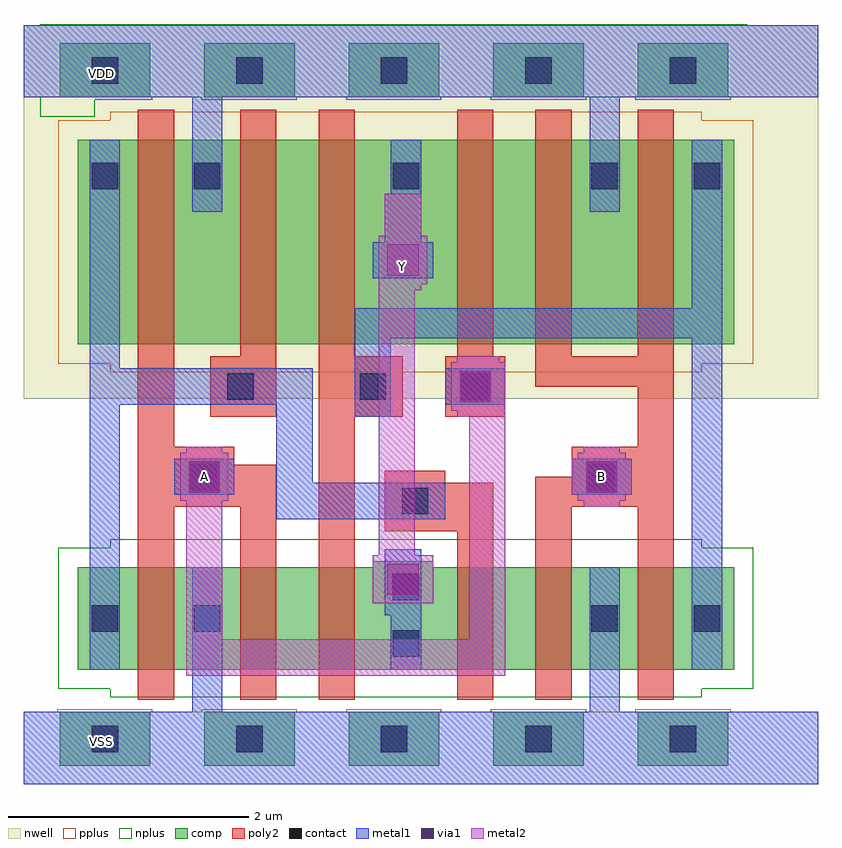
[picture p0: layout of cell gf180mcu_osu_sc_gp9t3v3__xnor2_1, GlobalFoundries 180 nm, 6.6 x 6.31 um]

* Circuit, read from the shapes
.subckt gf180mcu_osu_sc_gp9t3v3__xnor2_1 A B VDD VSS Y
XM1 VSS A n1 VSS nfet_03v3 w=0.85u l=0.3u
XM2 n2 A VSS VSS nfet_03v3 w=0.85u l=0.3u
XM3 Y n3 n2 VSS nfet_03v3 w=0.85u l=0.3u
XM4 n4 n1 Y VSS nfet_03v3 w=0.85u l=0.3u
XM5 VSS B n4 VSS nfet_03v3 w=0.85u l=0.3u
XM6 n3 B VSS VSS nfet_03v3 w=0.85u l=0.3u
XM7 VDD A n1 VDD pfet_03v3 w=1.7u l=0.3u
XM8 n5 n1 VDD VDD pfet_03v3 w=1.7u l=0.3u
XM9 Y n3 n5 VDD pfet_03v3 w=1.7u l=0.3u
XM10 n6 A Y VDD pfet_03v3 w=1.7u l=0.3u
XM11 VDD B n6 VDD pfet_03v3 w=1.7u l=0.3u
XM12 n3 B VDD VDD pfet_03v3 w=1.7u l=0.3u
.ends

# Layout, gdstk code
import gdstk
lib = gdstk.Library(unit=1e-6, precision=1e-09)
def R(c, l, rs):  # rectangles x0, y0, x1, y1
    for r in rs: c.add(gdstk.rectangle(r[:2], r[2:], *l))
def A(c, l, x, y, w, h, nx, ny, dx, dy):  # array of equal rectangles
    R(c, l, [(x+i*dx, y+j*dy, x+i*dx+w, y+j*dy+h) for i in range(nx) for j in range(ny)])
nwell = (21, 0)
comp = (22, 0)
poly2 = (30, 0)
pplus = (31, 0)
nplus = (32, 0)
contact = (33, 0)
metal1 = (34, 0)
via1 = (35, 0)
metal2 = (36, 0)

gf180mcu_osu_sc_gp9t3v3_ = lib.new_cell('gf180mcu_osu_sc_gp9t3v3__xnor2_1')
R(gf180mcu_osu_sc_gp9t3v3_, nwell, [(0,3.2,6.6,6.3)])
A(gf180mcu_osu_sc_gp9t3v3_, comp, 0.3, 0.15, 0.75, 0.45, 5, 2, 1.2, 5.55)
R(gf180mcu_osu_sc_gp9t3v3_, comp, [(0.45,0.95,5.9,1.8), (2.9,1.8,3.4,1.85), (0.45,3.65,5.9,5.35)])
R(gf180mcu_osu_sc_gp9t3v3_, poly2, [(0.95,0.7,1.25,2.3), (1.8,0.7,2.1,2.3), (2.45,0.7,2.75,3.05), (3.6,0.7,3.9,2.1), (4.25,0.7,4.55,2.3), (5.1,0.7,5.4,2.3), (3,2.1,3.9,2.5), (0.95,2.3,2.1,2.65), (4.25,2.3,5.4,2.55), (3,2.5,3.5,2.6), (4.55,2.55,5.4,2.8), (0.95,2.65,1.75,2.8), (0.95,2.8,1.25,5.6), (5.1,2.8,5.4,3.3), (1.55,3.05,2.1,3.55), (2.45,3.05,3.15,3.55), (3.5,3.05,4,3.55), (4.25,3.3,5.4,3.55), (1.8,3.55,2.1,5.6), (2.45,3.55,2.75,5.6), (3.6,3.55,3.9,5.6), (4.25,3.55,4.55,5.6), (5.1,3.55,5.4,5.6)])
A(gf180mcu_osu_sc_gp9t3v3_, pplus, 0.28, 0.13, 0.79, 0.49, 5, 1, 1.2, 0)
R(gf180mcu_osu_sc_gp9t3v3_, pplus, [(0,0,6.6,0.6), (0.72,3.42,5.63,3.49), (0.29,3.49,6.06,5.51), (0.72,5.51,5.63,5.58)])
A(gf180mcu_osu_sc_gp9t3v3_, nplus, 1.48, 5.68, 0.79, 0.02, 4, 1, 1.2, 0)
R(gf180mcu_osu_sc_gp9t3v3_, nplus, [(0.72,0.72,5.63,0.79), (0.29,0.79,6.06,1.96), (0.72,1.96,5.63,2.03), (0.14,5.54,0.59,5.68), (0.14,5.68,1.07,5.7), (0,5.7,6.6,6.3), (0,5.7,6.6,6.3), (0.14,6.3,6.01,6.31)])
A(gf180mcu_osu_sc_gp9t3v3_, contact, 0.565, 0.265, 0.22, 0.22, 5, 2, 1.2, 5.55)
A(gf180mcu_osu_sc_gp9t3v3_, contact, 1.415, 4.94, 0.22, 0.22, 3, 1, 1.65, 0)
R(gf180mcu_osu_sc_gp9t3v3_, contact, [(3.065,1.055,3.285,1.275), (0.565,1.265,0.785,1.485), (1.415,1.265,1.635,1.485), (4.715,1.265,4.935,1.485), (5.565,1.265,5.785,1.485), (3.065,1.525,3.285,1.745), (3.14,2.24,3.36,2.46), (1.39,2.44,1.61,2.66), (4.69,2.44,4.91,2.66), (1.69,3.19,1.91,3.41), (2.79,3.19,3.01,3.41), (3.64,3.19,3.86,3.41), (0.565,4.94,0.785,5.16), (5.565,4.94,5.785,5.16)])
R(gf180mcu_osu_sc_gp9t3v3_, metal1, [(0,0,6.6,0.6), (1.4,0.6,1.65,1.8), (4.7,0.6,4.95,1.8), (0.55,0.95,0.8,3.15), (3.05,0.95,3.3,1.4), (5.55,0.95,5.8,3.7), (3,1.4,3.3,1.95), (2.1,2.2,3.5,2.5), (1.25,2.4,1.75,2.7), (4.55,2.4,5.05,2.7), (2.1,2.5,2.4,3.15), (2.75,3.05,3.05,3.7), (0.55,3.15,2.4,3.45), (3.5,3.15,4,3.45), (0.55,3.45,0.8,5.35), (2.75,3.7,5.8,3.95), (5.55,3.95,5.8,5.35), (2.9,4.2,3.4,4.5), (3,4.5,3.3,4.9), (1.4,4.75,1.65,5.7), (4.7,4.75,4.95,5.7), (3.05,4.9,3.3,5.35), (0,5.7,6.6,6.3)])
R(gf180mcu_osu_sc_gp9t3v3_, via1, [(3.02,1.57,3.28,1.83), (1.37,2.42,1.63,2.68), (4.67,2.42,4.93,2.68), (3.62,3.17,3.88,3.43), (3.02,4.22,3.28,4.48)])
R(gf180mcu_osu_sc_gp9t3v3_, metal2, [(1.35,0.9,4,1.2), (1.35,1.2,1.65,2.35), (3.7,1.2,4,3.05), (2.9,1.5,3.4,1.9), (2.95,1.9,3.25,4.1), (4.65,2.3,4.95,2.35), (1.3,2.35,1.7,2.75), (4.6,2.35,5,2.4), (4.55,2.4,5.05,2.7), (4.6,2.7,5,2.75), (1.35,2.75,1.65,2.8), (4.65,2.75,4.95,2.8), (3.6,3.05,4,3.1), (3.55,3.1,4,3.5), (3.6,3.5,3.95,3.55), (2.95,4.1,3.3,4.15), (2.95,4.15,3.35,4.55), (3,4.55,3.3,4.9)])
gf180mcu_osu_sc_gp9t3v3_.add(gdstk.Label('A', (1.5,2.55), layer=36, texttype=10))
gf180mcu_osu_sc_gp9t3v3_.add(gdstk.Label('B', (4.8,2.55), layer=36, texttype=10))
gf180mcu_osu_sc_gp9t3v3_.add(gdstk.Label('Y', (3.15,4.3), layer=36, texttype=10))
gf180mcu_osu_sc_gp9t3v3_.add(gdstk.Label('VDD', (0.65,5.9), layer=22, texttype=0))
gf180mcu_osu_sc_gp9t3v3_.add(gdstk.Label('VSS', (0.65,0.35), layer=22, texttype=0))

lib.write_gds('gf180mcu_osu_sc_gp9t3v3__xnor2_1.gds')
